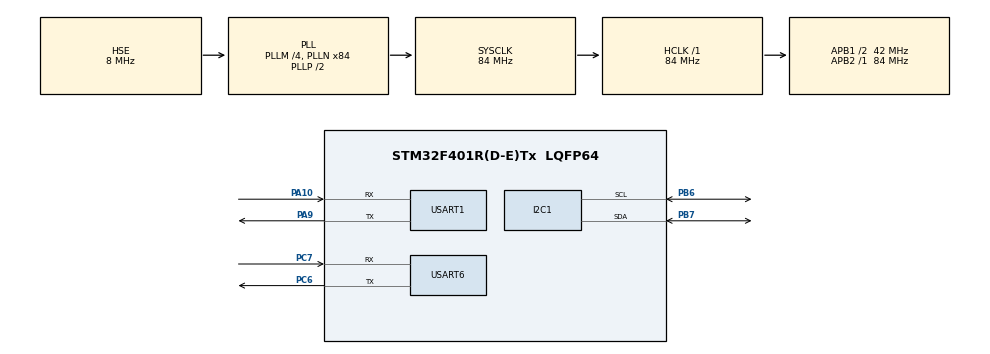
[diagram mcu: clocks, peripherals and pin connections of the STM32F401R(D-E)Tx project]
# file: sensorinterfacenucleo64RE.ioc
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Mcu.Family=STM32F4
Mcu.Name=STM32F401R(D-E)Tx
Mcu.Package=LQFP64
NVIC.PriorityGroup=NVIC_PRIORITYGROUP_4
NVIC.USART6_IRQn=true\:0\:0\:false\:false\:true\:true\:true\:true
PA10.Mode=Asynchronous
PA10.Signal=USART1_RX
PA13.Mode=Serial_Wire
PA13.Signal=SYS_JTMS-SWDIO
PA14.Mode=Serial_Wire
PA14.Signal=SYS_JTCK-SWCLK
PA9.Mode=Asynchronous
PA9.Signal=USART1_TX
PB6.Mode=I2C
PB6.Signal=I2C1_SCL
PB7.Mode=I2C
PB7.Signal=I2C1_SDA
PC6.Mode=Asynchronous
PC6.Signal=USART6_TX
PC7.Mode=Asynchronous
PC7.Signal=USART6_RX
PH0\ -\ OSC_IN.Mode=HSE-External-Clock-Source
PH0\ -\ OSC_IN.Signal=RCC_OSC_IN
PH1\ -\ OSC_OUT.Mode=HSE-External-Clock-Source
PH1\ -\ OSC_OUT.Signal=RCC_OSC_OUT
ProjectManager.HeapSize=0x200
ProjectManager.StackSize=0x400
ProjectManager.TargetToolchain=STM32CubeIDE
RCC.48MHZClocksFreq_Value=42000000
RCC.AHBFreq_Value=84000000
RCC.APB1CLKDivider=RCC_HCLK_DIV2
RCC.APB1Freq_Value=42000000
RCC.APB1TimFreq_Value=84000000
RCC.APB2Freq_Value=84000000
RCC.APB2TimFreq_Value=84000000
RCC.CortexFreq_Value=84000000
RCC.HCLKFreq_Value=84000000
RCC.HSE_VALUE=8000000
RCC.HSI_VALUE=16000000
RCC.LSE_VALUE=32768
RCC.PLLM=4
RCC.PLLN=84
RCC.PLLSourceVirtual=RCC_PLLSOURCE_HSE
RCC.SYSCLKFreq_VALUE=84000000
RCC.SYSCLKSource=RCC_SYSCLKSOURCE_PLLCLK
RCC.VCOOutputFreq_Value=168000000
USART1.VirtualMode=VM_ASYNC
USART6.VirtualMode=VM_ASYNC
board=custom

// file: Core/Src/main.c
/* USER CODE BEGIN Header */
/**
  ******************************************************************************
  * @file           : main.c
  * @brief          : Main program body
  ******************************************************************************
  * @attention
  *
  * Copyright (c) 2026 STMicroelectronics.
  * All rights reserved.
  *
  * This software is licensed under terms that can be found in the LICENSE file
  * in the root directory of this software component.
  * If no LICENSE file comes with this software, it is provided AS-IS.
  *
  ******************************************************************************
  */
/* USER CODE END Header */
#include "main.h"
#include "bme280.h"
#include <stdio.h>
#include <string.h>

I2C_HandleTypeDef hi2c1;

UART_HandleTypeDef huart1;
UART_HandleTypeDef huart6;

/* USER CODE BEGIN PV */
struct bme280_settings settings;
extern I2C_HandleTypeDef hi2c1;

struct bme280_dev dev;
struct bme280_data comp_data;

int8_t rslt = BME280_OK;

float temperature, pressure, humidity;
/* USER CODE END PV */

void SystemClock_Config(void);
static void MX_GPIO_Init(void);
static void MX_I2C1_Init(void);
static void MX_USART1_UART_Init(void);
static void MX_USART6_UART_Init(void);
/* USER CODE BEGIN PFP */
int8_t user_i2c_read(uint8_t reg_addr, uint8_t *reg_data,
                     uint32_t len, void *intf_ptr);

int8_t user_i2c_write(uint8_t reg_addr, const uint8_t *reg_data,
                      uint32_t len, void *intf_ptr);

void user_delay_us(uint32_t period, void *intf_ptr);
/* USER CODE END PFP */

int main(void)
{

  /* MCU Configuration--------------------------------------------------------*/

  /* Reset of all peripherals, Initializes the Flash interface and the Systick. */
  HAL_Init();

  /* Configure the system clock */
  SystemClock_Config();

  /* Initialize all configured peripherals */
  MX_GPIO_Init();
  MX_I2C1_Init();
  MX_USART1_UART_Init();
  MX_USART6_UART_Init();
  /* USER CODE BEGIN 2 */

  static uint8_t dev_addr = BME280_I2C_ADDR_PRIM;

  // Configure Bosch API
  dev.intf_ptr = &dev_addr;
  dev.intf = BME280_I2C_INTF;
  dev.read = user_i2c_read;
  dev.write = user_i2c_write;
  dev.delay_us = user_delay_us;

  // Initialize BME280
  rslt = bme280_init(&dev);

  if(rslt != BME280_OK)
  {
      Error_Handler();
  }

  // Configure sensor settings
  settings.osr_h = BME280_OVERSAMPLING_1X;
  settings.osr_p = BME280_OVERSAMPLING_1X;
  settings.osr_t = BME280_OVERSAMPLING_1X;
  settings.filter = BME280_FILTER_COEFF_OFF;

  rslt = bme280_set_sensor_settings(
      BME280_SEL_OSR_PRESS |
      BME280_SEL_OSR_TEMP |
      BME280_SEL_OSR_HUM |
      BME280_SEL_FILTER,
      &settings,
      &dev
  );

  if(rslt != BME280_OK)
  {
      Error_Handler();
  }
  // Apply settings

  // Set normal mode
  rslt = bme280_set_sensor_mode(BME280_POWERMODE_NORMAL, &dev);

  if(rslt != BME280_OK)
  {
      Error_Handler();
  }

  /* USER CODE END 2 */

  /* Infinite loop */
  /* USER CODE BEGIN WHILE */
  while (1)
  {
	  rslt = bme280_get_sensor_data(BME280_ALL, &comp_data, &dev);

	      if (rslt == BME280_OK)
	      {
	          temperature = comp_data.temperature;
	          pressure = comp_data.pressure / 100.0f;
	          humidity = comp_data.humidity;

	          char msg[150];

	          sprintf(msg,
	                  "Temperature: %.2f C\r\n"
	                  "Pressure: %.2f hPa\r\n"
	                  "Humidity: %.2f %%\r\n\r\n",
	                  temperature, pressure, humidity);

	          HAL_UART_Transmit(&huart6, (uint8_t *)msg,
	                            strlen(msg), HAL_MAX_DELAY);
	      }

	      HAL_Delay(1000);

	  /* USER CODE END WHILE */

  }
}

void SystemClock_Config(void)
{
  RCC_OscInitTypeDef RCC_OscInitStruct = {0};
  RCC_ClkInitTypeDef RCC_ClkInitStruct = {0};

  /** Configure the main internal regulator output voltage
  */
  __HAL_RCC_PWR_CLK_ENABLE();
  __HAL_PWR_VOLTAGESCALING_CONFIG(PWR_REGULATOR_VOLTAGE_SCALE2);

  /** Initializes the RCC Oscillators according to the specified parameters
  * in the RCC_OscInitTypeDef structure.
  */
  RCC_OscInitStruct.OscillatorType = RCC_OSCILLATORTYPE_HSE;
  RCC_OscInitStruct.HSEState = RCC_HSE_BYPASS;
  RCC_OscInitStruct.PLL.PLLState = RCC_PLL_ON;
  RCC_OscInitStruct.PLL.PLLSource = RCC_PLLSOURCE_HSE;
  RCC_OscInitStruct.PLL.PLLM = 4;
  RCC_OscInitStruct.PLL.PLLN = 84;
  RCC_OscInitStruct.PLL.PLLP = RCC_PLLP_DIV2;
  RCC_OscInitStruct.PLL.PLLQ = 4;
  if (HAL_RCC_OscConfig(&RCC_OscInitStruct) != HAL_OK)
  {
    Error_Handler();
  }

  /** Initializes the CPU, AHB and APB buses clocks
  */
  RCC_ClkInitStruct.ClockType = RCC_CLOCKTYPE_HCLK|RCC_CLOCKTYPE_SYSCLK
                              |RCC_CLOCKTYPE_PCLK1|RCC_CLOCKTYPE_PCLK2;
  RCC_ClkInitStruct.SYSCLKSource = RCC_SYSCLKSOURCE_PLLCLK;
  RCC_ClkInitStruct.AHBCLKDivider = RCC_SYSCLK_DIV1;
  RCC_ClkInitStruct.APB1CLKDivider = RCC_HCLK_DIV2;
  RCC_ClkInitStruct.APB2CLKDivider = RCC_HCLK_DIV1;

  if (HAL_RCC_ClockConfig(&RCC_ClkInitStruct, FLASH_LATENCY_2) != HAL_OK)
  {
    Error_Handler();
  }
}

static void MX_I2C1_Init(void)
{

  hi2c1.Instance = I2C1;
  hi2c1.Init.ClockSpeed = 100000;
  hi2c1.Init.DutyCycle = I2C_DUTYCYCLE_2;
  hi2c1.Init.OwnAddress1 = 0;
  hi2c1.Init.AddressingMode = I2C_ADDRESSINGMODE_7BIT;
  hi2c1.Init.DualAddressMode = I2C_DUALADDRESS_DISABLE;
  hi2c1.Init.OwnAddress2 = 0;
  hi2c1.Init.GeneralCallMode = I2C_GENERALCALL_DISABLE;
  hi2c1.Init.NoStretchMode = I2C_NOSTRETCH_DISABLE;
  if (HAL_I2C_Init(&hi2c1) != HAL_OK)
  {
    Error_Handler();
  }

}

static void MX_USART1_UART_Init(void)
{

  huart1.Instance = USART1;
  huart1.Init.BaudRate = 115200;
  huart1.Init.WordLength = UART_WORDLENGTH_8B;
  huart1.Init.StopBits = UART_STOPBITS_1;
  huart1.Init.Parity = UART_PARITY_NONE;
  huart1.Init.Mode = UART_MODE_TX_RX;
  huart1.Init.HwFlowCtl = UART_HWCONTROL_NONE;
  huart1.Init.OverSampling = UART_OVERSAMPLING_16;
  if (HAL_UART_Init(&huart1) != HAL_OK)
  {
    Error_Handler();
  }

}

static void MX_USART6_UART_Init(void)
{

  huart6.Instance = USART6;
  huart6.Init.BaudRate = 115200;
  huart6.Init.WordLength = UART_WORDLENGTH_8B;
  huart6.Init.StopBits = UART_STOPBITS_1;
  huart6.Init.Parity = UART_PARITY_NONE;
  huart6.Init.Mode = UART_MODE_TX_RX;
  huart6.Init.HwFlowCtl = UART_HWCONTROL_NONE;
  huart6.Init.OverSampling = UART_OVERSAMPLING_16;
  if (HAL_UART_Init(&huart6) != HAL_OK)
  {
    Error_Handler();
  }

}

static void MX_GPIO_Init(void)
{

  /* GPIO Ports Clock Enable */
  __HAL_RCC_GPIOH_CLK_ENABLE();
  __HAL_RCC_GPIOC_CLK_ENABLE();
  __HAL_RCC_GPIOA_CLK_ENABLE();
  __HAL_RCC_GPIOB_CLK_ENABLE();

}

/* USER CODE BEGIN 4 */
int8_t user_i2c_read(uint8_t reg_addr, uint8_t *reg_data,
                     uint32_t len, void *intf_ptr)
{
    uint8_t dev_addr = *(uint8_t*)intf_ptr;

    if(HAL_I2C_Mem_Read(&hi2c1, (dev_addr << 1),
       reg_addr, I2C_MEMADD_SIZE_8BIT,
       reg_data, len, HAL_MAX_DELAY) == HAL_OK)
    {
        return BME280_OK;
    }

    return BME280_E_COMM_FAIL;
}

int8_t user_i2c_write(uint8_t reg_addr, const uint8_t *reg_data,
                      uint32_t len, void *intf_ptr)
{
    uint8_t dev_addr = *(uint8_t*)intf_ptr;

    if(HAL_I2C_Mem_Write(&hi2c1, (dev_addr << 1),
       reg_addr, I2C_MEMADD_SIZE_8BIT,
       (uint8_t*)reg_data, len, HAL_MAX_DELAY) == HAL_OK)
    {
        return BME280_OK;
    }

    return BME280_E_COMM_FAIL;
}

void user_delay_us(uint32_t period, void *intf_ptr)
{
    HAL_Delay((period / 1000) + 1);
}

/* USER CODE END 4 */

void Error_Handler(void)
{
  __disable_irq();
  while (1)
  {
  }
}
